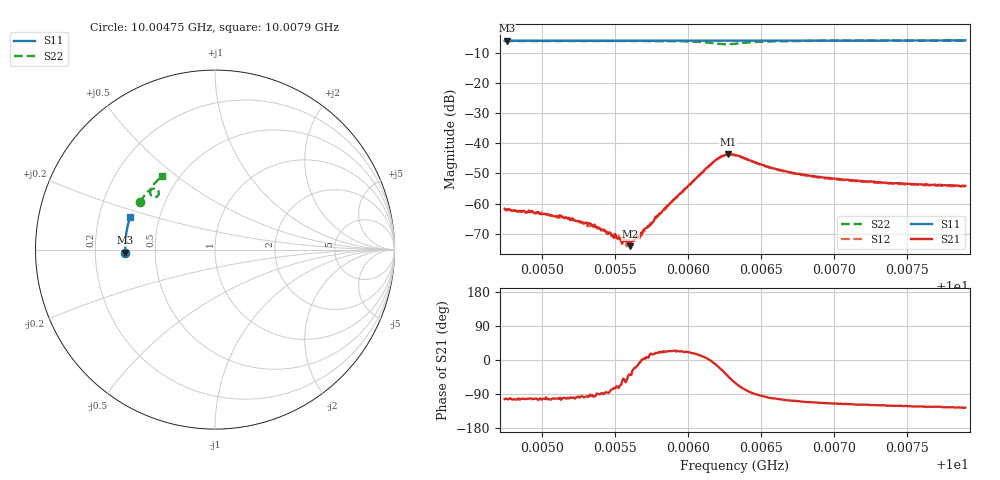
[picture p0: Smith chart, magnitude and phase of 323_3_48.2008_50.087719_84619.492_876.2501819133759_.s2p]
#  HZ  S  RI  R  50.00
! Rohde & Schwarz Vector Network Analyzer
! Rohde-Schwarz,ZNB20-2Port,1311601062101988,3.16
! Created: UTC 3/20/2024, 11:50:34 AM
! freq[Hz]  re:S11  im:S11  re:S21  im:S21  re:S12  im:S12  re:S22  im:S22
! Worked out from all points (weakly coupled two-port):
!   401 points, 10.00475 GHz to 10.0079 GHz, reference 50 ohm
!   highest |S21| = -43.66 dB at 10.00627 GHz (marker M1); lowest = -74.1 dB at 10.0056 GHz (marker M2)
!   lowest |S11| = -6.0 dB at 10.00476 GHz (marker M3), VSWR 2.99, Z = 16.7 - j0.788 ohm
!   |S11| at or under -10 dB: nowhere
!   |S22| runs from -7.2 to -6.0 dB; largest |S21 - S12| = 0.00036
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1.0004745e10  -0.4989 -0.0187  -0.000187 -0.000796  -0.000127 -0.000757  -0.4178 0.2628
1.0004761e10  -0.4988 -0.0177  -0.00018 -0.000781  -0.000138 -0.000756  -0.4173 0.2638
1.0004982e10  -0.4996 -0.00329  -0.00016 -0.00066  -0.000118 -0.000689  -0.4096 0.2768
1.0005123e10  -0.4998 0.00591  -0.000106 -0.000635  -0.000101 -0.000598  -0.4042 0.2853
1.0005273e10  -0.5 0.0156  -4.93e-05 -0.000493  -4.64e-05 -0.000492  -0.3984 0.2942
1.000532e10  -0.4999 0.0188  -6.15e-05 -0.000471  -4.83e-05 -0.000459  -0.3963 0.297
1.0005415e10  -0.4998 0.0248  1.34e-05 -0.000369  1.88e-05 -0.000385  -0.3921 0.3028
1.0005454e10  -0.4998 0.0275  1.63e-05 -0.000314  5.14e-05 -0.000321  -0.3903 0.3052
1.0005541e10  -0.4997 0.033  9.84e-05 -0.00022  0.000145 -0.000227  -0.386 0.3105
1.0005565e10  -0.4995 0.0344  0.000153 -0.000194  0.000155 -0.000183  -0.3849 0.3119
1.0005604e10  -0.4993 0.0371  0.000153 -0.000124  0.000183 -0.000129  -0.3829 0.3144
1.000562e10  -0.4994 0.0381  0.000217 -0.000113  0.000217 -0.000106  -0.3819 0.3154
1.0005683e10  -0.4993 0.0423  0.000315 6.98e-06  0.000298 -1.44e-05  -0.3783 0.3194
1.0005801e10  -0.4987 0.0498  0.000623 0.000242  0.000588 0.000264  -0.3703 0.3269
1.0006155e10  -0.4962 0.0727  0.00448 -0.000135  0.00441 3.65e-05  -0.32 0.332
1.0006218e10  -0.4956 0.0764  0.00545 -0.00221  0.00546 -0.00189  -0.3131 0.3136
1.0006273e10  -0.4951 0.0798  0.00479 -0.00448  0.0049 -0.00416  -0.3223 0.2961
1.0006321e10  -0.495 0.0828  0.00318 -0.00555  0.00339 -0.00529  -0.3378 0.2916
1.0006573e10  -0.493 0.0988  -0.00071 -0.00383  -0.000509 -0.0038  -0.3601 0.3289
1.0006848e10  -0.4898 0.1163  -0.00105 -0.00269  -0.000904 -0.00261  -0.3484 0.3536
1.0007376e10  -0.4818 0.1495  -0.00111 -0.00187  -0.00101 -0.0019  -0.3224 0.3836
1.0007896e10  -0.4717 0.1814  -0.00115 -0.0016  -0.00106 -0.00163  -0.296 0.4073
